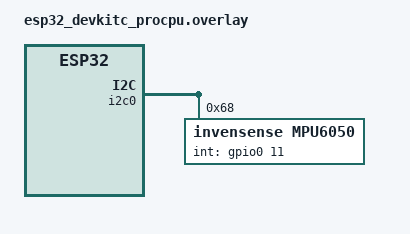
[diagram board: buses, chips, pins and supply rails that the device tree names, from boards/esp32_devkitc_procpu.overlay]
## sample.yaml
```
#
# Copyright (c) 2019 Nordic Semiconductor ASA
#
# SPDX-License-Identifier: Apache-2.0
#

sample:
  name: MPU6050 Sensor Sample
tests:
  sample.sensor.mpu6050:
    build_only: true
    platform_allow: esp32_devkitc/esp32/procpu
    tags: sensors
    integration_platforms:
      - esp32_devkitc/esp32/procpu
```

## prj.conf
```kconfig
#
# Copyright (c) 2019 Nordic Semiconductor ASA
#
# SPDX-License-Identifier: Apache-2.0
#
CONFIG_I2C=y
CONFIG_SENSOR=y
CONFIG_MPU6050_TRIGGER_NONE=y
CONFIG_CBPRINTF_FP_SUPPORT=y
CONFIG_PRINTK=y
```

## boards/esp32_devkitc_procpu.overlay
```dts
&i2c0 {
	mpu6050@68 {
		compatible = "invensense,mpu6050";
		reg = <0x68>;
		status = "okay";
		int-gpios = <&gpio0 11 GPIO_ACTIVE_HIGH>;
		smplrt-div = <249>;	
	};
};
```

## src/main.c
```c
/*
 * Copyright (c) 2019 Nordic Semiconductor ASA
 *
 * SPDX-License-Identifier: Apache-2.0
 */

#include <zephyr/kernel.h>
#include <zephyr/device.h>
#include <zephyr/drivers/sensor.h>
#include <stdio.h>

// #define SENSOR_NODE DT_NODELABEL(mpu_sensor)

static const char *now_str(void)
{
	static char buf[16]; /* ...HH:MM:SS.MMM */
	uint32_t now = k_uptime_get_32();
	unsigned int ms = now % MSEC_PER_SEC;
	unsigned int s;
	unsigned int min;
	unsigned int h;

	now /= MSEC_PER_SEC;
	s = now % 60U;
	now /= 60U;
	min = now % 60U;
	now /= 60U;
	h = now;

	snprintf(buf, sizeof(buf), "%u:%02u:%02u.%03u",
		 h, min, s, ms);
	return buf;
}

static int process_mpu6050(const struct device *dev)
{
	struct sensor_value temperature;
	struct sensor_value accel[3];
	struct sensor_value gyro[3];
	int rc = sensor_sample_fetch(dev);

	if (rc == 0) {
		rc = sensor_channel_get(dev, SENSOR_CHAN_ACCEL_XYZ,
					accel);
	}
	if (rc == 0) {
		rc = sensor_channel_get(dev, SENSOR_CHAN_GYRO_XYZ,
					gyro);
	}
	if (rc == 0) {
		rc = sensor_channel_get(dev, SENSOR_CHAN_DIE_TEMP,
					&temperature);
	}
	if (rc == 0) {
		printf("[%s]:%g Cel\n"
		       "  accel %f %f %f m/s/s\n"
		       "  gyro  %f %f %f rad/s\n",
		       now_str(),
		       sensor_value_to_double(&temperature),
		       sensor_value_to_double(&accel[0]),
		       sensor_value_to_double(&accel[1]),
		       sensor_value_to_double(&accel[2]),
		       sensor_value_to_double(&gyro[0]),
		       sensor_value_to_double(&gyro[1]),
		       sensor_value_to_double(&gyro[2]));
	} else {
		printf("sample fetch/get failed: %d\n", rc);
	}

	return rc;
}

#ifdef CONFIG_MPU6050_TRIGGER
static struct sensor_trigger trigger;

static void handle_mpu6050_drdy(const struct device *dev,
				const struct sensor_trigger *trig)
{
	int rc = process_mpu6050(dev);

	if (rc != 0) {
		printf("cancelling trigger due to failure: %d\n", rc);
		(void)sensor_trigger_set(dev, trig, NULL);
		return;
	}
}
#endif /* CONFIG_MPU6050_TRIGGER */

int main(void)
{
	const struct device *const mpu6050 = DEVICE_DT_GET_ONE(invensense_mpu6050);

	if (!device_is_ready(mpu6050)) {
		printf("Device %s is not ready\n", mpu6050->name);
		return 0;
	}

#ifdef CONFIG_MPU6050_TRIGGER
	trigger = (struct sensor_trigger) {
		.type = SENSOR_TRIG_DATA_READY,
		.chan = SENSOR_CHAN_ALL,
	};
	if (sensor_trigger_set(mpu6050, &trigger,
			       handle_mpu6050_drdy) < 0) {
		printf("Cannot configure trigger\n");
		return 0;
	}
	printk("Configured for triggered sampling.\n");
#endif

	while (!IS_ENABLED(CONFIG_MPU6050_TRIGGER)) {
		int rc = process_mpu6050(mpu6050);

		if (rc != 0) {
			break;
		}
		k_sleep(K_SECONDS(2));
	}

	/* triggered runs with its own thread after exit */
	return 0;
}
```
